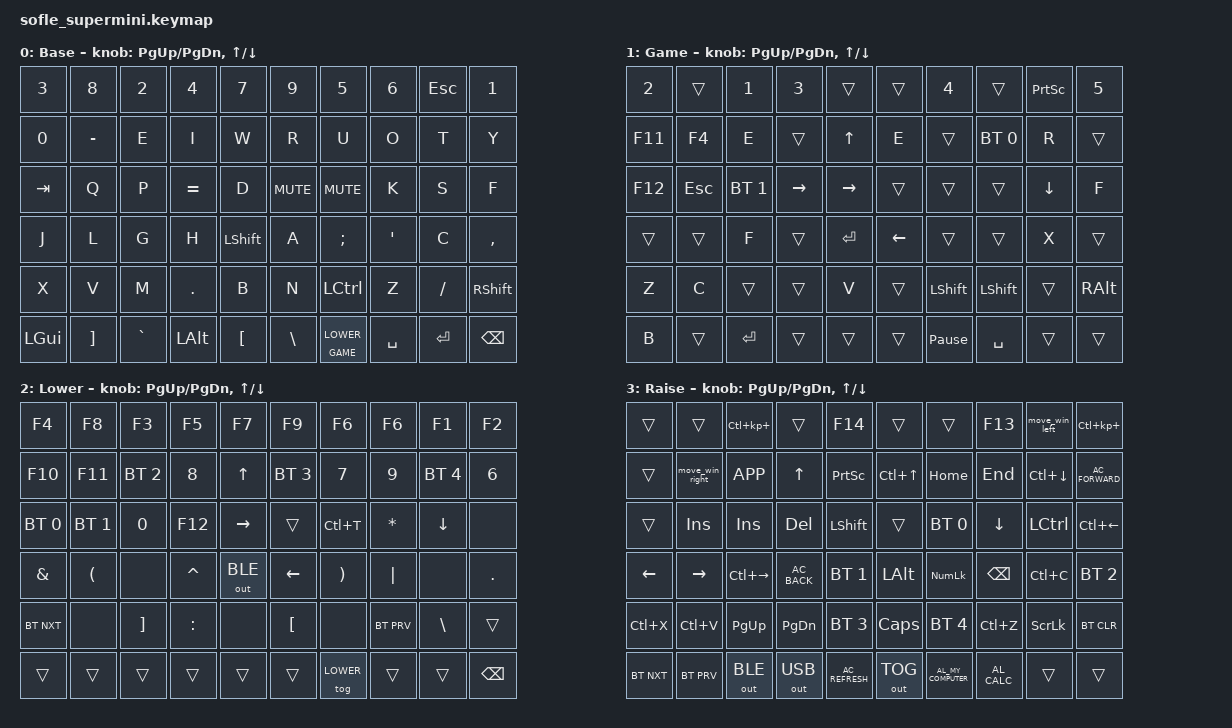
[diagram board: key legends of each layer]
#include <behaviors.dtsi>
#include <dt-bindings/zmk/bt.h>
#include <dt-bindings/zmk/keys.h>
#include <dt-bindings/zmk/outputs.h>

#define BASE 0
#define GAME 1
#define LOWER 2
#define RAISE 3

/ {
    macros {
        alt_tab_fwd: alt_tab_fwd {
            compatible = "zmk,behavior-macro";
            #binding-cells = <0>;
            wait-ms = <30>;
            tap-ms = <30>;
            bindings = <&macro_press &kp LALT>, <&macro_tap &kp TAB>, <&macro_release &kp LALT>;
        };

        alt_tab_rev: alt_tab_rev {
            compatible = "zmk,behavior-macro";
            #binding-cells = <0>;
            wait-ms = <30>;
            tap-ms = <30>;
            bindings = <&macro_press &kp LALT &kp LSHFT>, <&macro_tap &kp TAB>, <&macro_release &kp LSHFT &kp LALT>;
        };

        move_win_right: move_win_right {
            compatible = "zmk,behavior-macro";
            #binding-cells = <0>;
            wait-ms = <30>;
            tap-ms = <30>;
            bindings = <&macro_press &kp LSHFT &kp LGUI>, <&macro_tap &kp RIGHT>, <&macro_release &kp LGUI &kp LSHFT>;
        };

        move_win_left: move_win_left {
            compatible = "zmk,behavior-macro";
            #binding-cells = <0>;
            wait-ms = <30>;
            tap-ms = <30>;
            bindings = <&macro_press &kp LSHFT &kp LGUI>, <&macro_tap &kp LEFT>, <&macro_release &kp LGUI &kp LSHFT>;
        };

        word_backspace: word_backspace {
            compatible = "zmk,behavior-macro";
            #binding-cells = <0>;
            wait-ms = <30>;
            tap-ms = <30>;
            bindings = <&macro_press &kp LCTRL>, <&macro_tap &kp BSPC>, <&macro_release &kp LCTRL>;
        };
    };

    behaviors {
        mode_hold: mode_switch_hold_tap {
            compatible = "zmk,behavior-hold-tap";
            #binding-cells = <2>;
            flavor = "tap-preferred";
            tapping-term-ms = <220>;
            quick-tap-ms = <0>;
            bindings = <&mo>, <&tog>;
        };
    };

    keymap {
        compatible = "zmk,keymap";

        base_layer {
            display-name = "Base";
            bindings = <
                &kp N3                &kp N8                &kp N2                &kp N4                &kp N7                &kp N9                &kp N5                &kp N6                &kp ESC               &kp N1
                &kp N0                &kp MINUS             &kp E                 &kp I                 &kp W                 &kp R                 &kp U                 &kp O                 &kp T                 &kp Y
                &kp TAB               &kp Q                 &kp P                 &kp EQUAL             &kp D                 &kp C_MUTE            &kp C_MUTE            &kp K                 &kp S                 &kp F
                &kp J                 &kp L                 &kp G                 &kp H                 &kp LSHFT             &kp A                 &kp SEMI              &kp APOS              &kp C                 &kp COMMA
                &kp X                 &kp V                 &kp M                 &kp DOT               &kp B                 &kp N                 &kp LCTRL             &kp Z                 &kp FSLH              &kp RSHFT
                &kp LGUI              &kp RBKT              &kp GRAVE             &kp LALT              &kp LBKT              &kp BSLH              &mode_hold GAME LOWER &kp SPACE             &kp ENTER             &kp BSPC
            >;
            sensor-bindings = <&inc_dec_kp PG_UP PG_DN &inc_dec_kp UP DOWN>;
        };

        game_layer {
            display-name = "Game";
            bindings = <
                &kp N2               &trans               &kp N1               &kp N3               &trans               &trans               &kp N4               &trans               &kp PSCRN            &kp N5
                &kp F11              &kp F4               &kp E                &trans               &kp UP               &kp E                &trans               &bt BT_SEL 0         &kp R                &trans
                &kp F12              &kp ESC              &bt BT_SEL 1         &kp RIGHT            &kp RIGHT            &trans               &trans               &trans               &kp DOWN             &kp F
                &trans               &trans               &kp F                &trans               &kp ENTER            &kp LEFT             &trans               &trans               &kp X                &trans
                &kp Z                &kp C                &trans               &trans               &kp V                &trans               &kp LSHFT            &kp LSHFT            &trans               &kp RALT
                &kp B                &trans               &kp ENTER            &trans               &trans               &trans               &kp PAUSE_BREAK      &kp SPACE            &trans               &trans
            >;
            sensor-bindings = <&inc_dec_kp PG_UP PG_DN &inc_dec_kp UP DOWN>;
        };

        lower_layer {
            display-name = "Lower";
            bindings = <
                &kp F4                &kp F8                &kp F3                &kp F5                &kp F7                &kp F9                &kp F6                &kp F6                &kp F1                &kp F2
                &kp F10               &kp F11               &bt BT_SEL 2          &kp N8                &kp UP                &bt BT_SEL 3          &kp N7                &kp N9                &bt BT_SEL 4          &kp N6
                &bt BT_SEL 0          &bt BT_SEL 1          &kp N0                &kp F12               &kp RIGHT             &trans                &kp LC(T)             &kp ASTRK             &kp DOWN              &none
                &kp AMPS              &kp LPAR              &none                 &kp CARET             &out OUT_BLE          &kp LEFT              &kp RPAR              &kp PIPE              &none                 &kp DOT
                &bt BT_NXT            &none                 &kp RBKT              &kp COLON             &none                 &kp LBKT              &none                 &bt BT_PRV            &kp BSLH              &trans
                &trans                &trans                &trans                &trans                &trans                &trans                &tog LOWER            &trans                &trans                &kp BSPC
            >;
            sensor-bindings = <&inc_dec_kp PG_UP PG_DN &inc_dec_kp UP DOWN>;
        };

        raise_layer {
            display-name = "Raise";
            bindings = <
                &trans               &trans               &kp LC(KP_PLUS)      &trans               &kp F14              &trans               &trans               &kp F13              &move_win_left       &kp LC(KP_PLUS)
                &trans               &move_win_right      &kp K_APP            &kp UP               &kp PSCRN            &kp LC(UP)           &kp HOME             &kp END              &kp LC(DOWN)         &kp C_AC_FORWARD
                &trans               &kp INS              &kp INS              &kp DEL              &kp LSHFT            &trans               &bt BT_SEL 0         &kp DOWN             &kp LCTRL            &kp LC(LEFT)
                &kp LEFT             &kp RIGHT            &kp LC(RIGHT)        &kp C_AC_BACK        &bt BT_SEL 1         &kp LALT             &kp KP_NLCK          &kp BSPC             &kp LC(C)            &bt BT_SEL 2
                &kp LC(X)            &kp LC(V)            &kp PG_UP            &kp PG_DN            &bt BT_SEL 3         &kp CAPS             &bt BT_SEL 4         &kp LC(Z)            &kp SLCK             &bt BT_CLR
                &bt BT_NXT           &bt BT_PRV           &out OUT_BLE         &out OUT_USB         &kp C_AC_REFRESH     &out OUT_TOG         &kp C_AL_MY_COMPUTER &kp C_AL_CALC        &trans               &trans
            >;
            sensor-bindings = <&inc_dec_kp PG_UP PG_DN &inc_dec_kp UP DOWN>;
        };
    };
};

